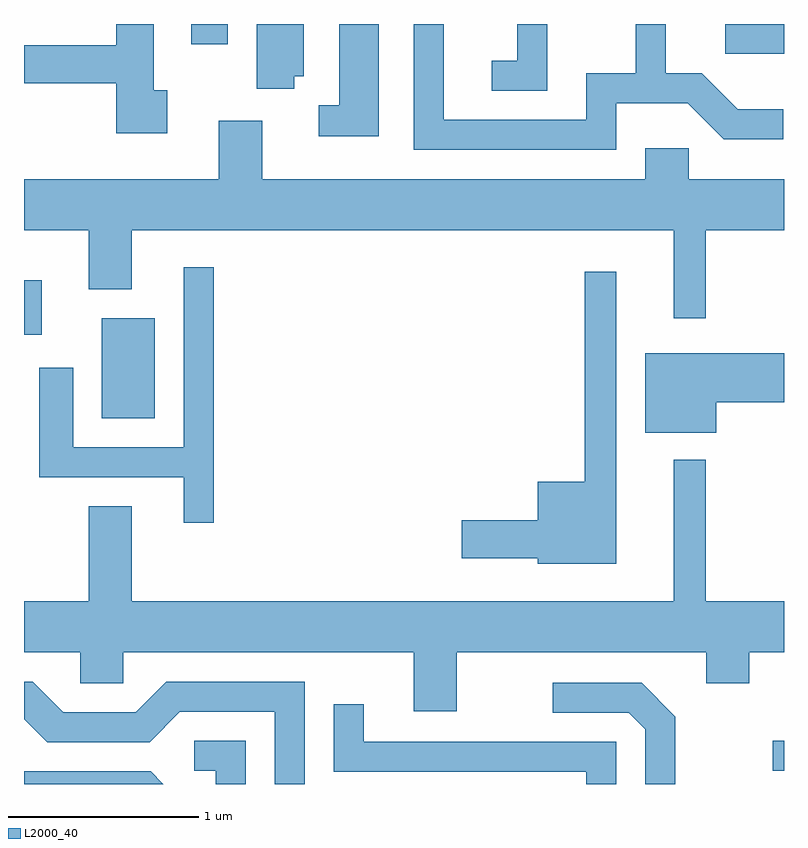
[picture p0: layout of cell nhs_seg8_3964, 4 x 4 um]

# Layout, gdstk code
import gdstk
lib = gdstk.Library(unit=1e-6, precision=1e-09)
def R(c, l, rs):  # rectangles x0, y0, x1, y1
    for r in rs: c.add(gdstk.rectangle(r[:2], r[2:], *l))
def P(c, l, *ps):  # polygons
    for p in ps: c.add(gdstk.Polygon(p, *l))
L2000_40 = (2000, 40)

nhs_seg8_3964 = lib.new_cell('nhs_seg8_3964')
R(nhs_seg8_3964, L2000_40, [(307.553,1882.411,307.611,1882.569), (304.021,1884.266,304.299,1884.794), (303.611,1884.706,303.704,1884.994), (307.301,1886.186,307.611,1886.342), (304.491,1886.236,304.684,1886.342)])
P(nhs_seg8_3964, L2000_40, [(305.034,1886.066),(305.084,1886.066),(305.084,1886.342),(304.836,1886.342),(304.836,1886.001),(305.034,1886.001)],
  [(306.729,1885.926),(307.104,1885.926),(307.294,1885.736),(307.608,1885.736),(307.608,1885.894),(307.367,1885.894),(307.177,1886.084),(306.989,1886.084),(306.989,1886.342),(306.831,1886.342),(306.831,1886.084),(306.571,1886.084),(306.571,1885.839),(305.819,1885.839),(305.819,1886.342),(305.661,1886.342),(305.661,1885.681),(306.729,1885.681)],
  [(305.479,1886.342),(305.271,1886.342),(305.271,1885.914),(305.163,1885.914),(305.163,1885.751),(305.479,1885.751)],
  [(306.364,1886.342),(306.206,1886.342),(306.206,1886.149),(306.073,1886.149),(306.073,1885.991),(306.364,1885.991)],
  [(304.364,1885.994),(304.294,1885.994),(304.294,1886.342),(304.096,1886.342),(304.096,1886.229),(303.611,1886.229),(303.611,1886.031),(304.096,1886.031),(304.096,1885.766),(304.364,1885.766)],
  [(307.199,1885.256),(307.611,1885.256),(307.611,1885.524),(307.109,1885.524),(307.109,1885.689),(306.881,1885.689),(306.881,1885.524),(304.864,1885.524),(304.864,1885.834),(304.636,1885.834),(304.636,1885.524),(303.611,1885.524),(303.611,1885.256),(303.951,1885.256),(303.951,1884.946),(304.179,1884.946),(304.179,1885.256),(307.031,1885.256),(307.031,1884.793),(307.199,1884.793)],
  [(304.609,1885.063),(304.451,1885.063),(304.451,1884.114),(303.869,1884.114),(303.869,1884.534),(303.691,1884.534),(303.691,1883.956),(304.451,1883.956),(304.451,1883.718),(304.609,1883.718)],
  [(306.729,1885.038),(306.561,1885.038),(306.561,1883.934),(306.316,1883.934),(306.316,1883.729),(305.916,1883.729),(305.916,1883.531),(306.316,1883.531),(306.316,1883.501),(306.729,1883.501)],
  [(307.254,1884.351),(307.611,1884.351),(307.611,1884.609),(306.881,1884.609),(306.881,1884.191),(307.254,1884.191)],
  [(305.889,1883.036),(307.201,1883.036),(307.201,1882.871),(307.429,1882.871),(307.429,1883.036),(307.611,1883.036),(307.611,1883.304),(307.199,1883.304),(307.199,1884.048),(307.031,1884.048),(307.031,1883.304),(304.179,1883.304),(304.179,1883.804),(303.951,1883.804),(303.951,1883.304),(303.611,1883.304),(303.611,1883.036),(303.906,1883.036),(303.906,1882.871),(304.134,1882.871),(304.134,1883.036),(305.661,1883.036),(305.661,1882.726),(305.889,1882.726)],
  [(305.089,1882.879),(304.359,1882.879),(304.199,1882.719),(303.817,1882.719),(303.657,1882.879),(303.611,1882.879),(303.611,1882.684),(303.734,1882.561),(304.272,1882.561),(304.432,1882.721),(304.931,1882.721),(304.931,1882.342),(305.089,1882.342)],
  [(307.039,1882.697),(306.862,1882.874),(306.393,1882.874),(306.393,1882.716),(306.794,1882.716),(306.881,1882.629),(306.881,1882.342),(307.039,1882.342)],
  [(306.729,1882.564),(305.399,1882.564),(305.399,1882.763),(305.241,1882.763),(305.241,1882.406),(306.571,1882.406),(306.571,1882.342),(306.729,1882.342)],
  [(304.779,1882.569),(304.508,1882.569),(304.508,1882.411),(304.621,1882.411),(304.621,1882.342),(304.779,1882.342)],
  [(304.277,1882.409),(303.611,1882.409),(303.611,1882.342),(304.344,1882.342)])

lib.write_gds('nhs_seg8_3964.gds')
